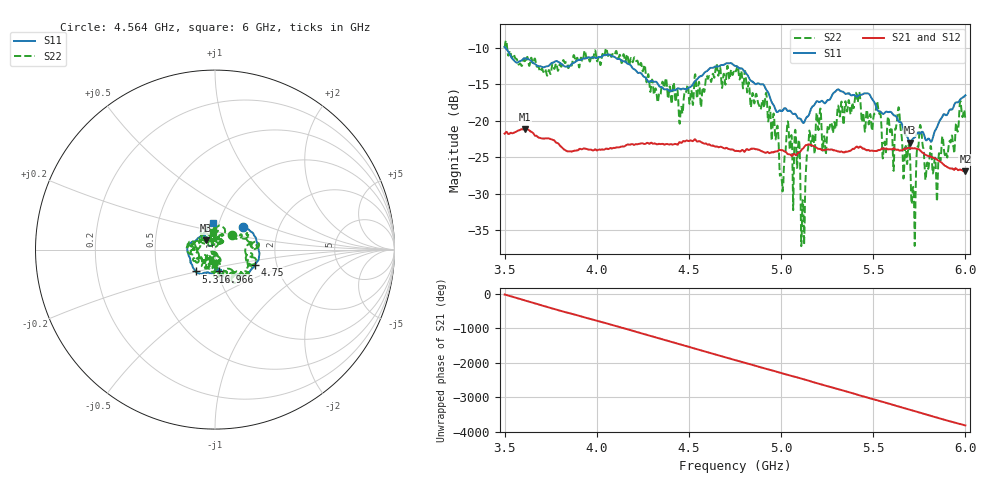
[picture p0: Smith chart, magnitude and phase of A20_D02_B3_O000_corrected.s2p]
! Created with skrf 1.9.0 (http://scikit-rf.org).
# Hz S RI R 50.0
!freq ReS11 ImS11 ReS21 ImS21 ReS12 ImS12 ReS22 ImS22
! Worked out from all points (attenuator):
!   1601 points, 3.5 GHz to 6 GHz, reference 50 ohm
!   highest |S21| = -21.11 dB at 3.611 GHz (marker M1); lowest = -26.9 dB at 6 GHz (marker M2)
!   lowest |S11| = -23.0 dB at 5.698 GHz (marker M3), VSWR 1.15, Z = 45.1 + j4.69 ohm
!   |S11| at or under -10 dB: 3.505 GHz to end of sweep
!   |S22| runs from -37.2 to -9.0 dB; largest |S21 - S12| = 0.00096
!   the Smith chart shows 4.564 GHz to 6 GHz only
!   S11 on the Smith chart (normalised r, x): 4.564 GHz: 1.32, +0.35; 4.75 GHz: 1.54, -0.28; 4.966 GHz: 1.01, -0.25; 5.316 GHz: 0.78, -0.20; 6 GHz: 0.94, +0.29
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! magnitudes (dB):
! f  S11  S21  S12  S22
! 3.5 GHz  -9.8  -21.8  -21.7  -10.0
! 3.611 GHz  -11.4  -21.1  -21.1  -11.9
! 3.917 GHz  -11.6  -23.9  -23.9  -11.4
! 4.211 GHz  -13.1  -23.2  -23.2  -11.7
! 4.334 GHz  -15.1  -23.2  -23.1  -17.0
! 4.564 GHz  -13.9  -22.9  -22.9  -18.0
! 4.75 GHz  -12.4  -24.1  -24.1  -13.0
! 4.966 GHz  -18.2  -24.2  -24.2  -21.0
! 5.003 GHz  -18.7  -24.0  -24.1  -28.1
! 5.033 GHz  -18.6  -24.5  -24.4  -20.7
! 5.088 GHz  -19.5  -24.5  -24.5  -26.4
! 5.119 GHz  -20.2  -23.8  -23.7  -31.0
! 5.145 GHz  -19.4  -23.3  -23.2  -24.0
! 5.167 GHz  -18.1  -23.4  -23.3  -23.2
! 5.316 GHz  -15.8  -24.2  -24.2  -19.0
! 5.584 GHz  -18.8  -23.9  -23.9  -19.6
! 5.639 GHz  -20.1  -24.0  -24.0  -18.2
! 5.698 GHz  -23.0  -23.7  -23.7  -24.4
! 5.717 GHz  -22.4  -23.8  -23.7  -29.1
! 5.752 GHz  -21.7  -24.0  -23.9  -21.0
! 5.838 GHz  -21.3  -25.2  -25.1  -25.4
! 6 GHz  -16.5  -26.9  -26.9  -19.9
